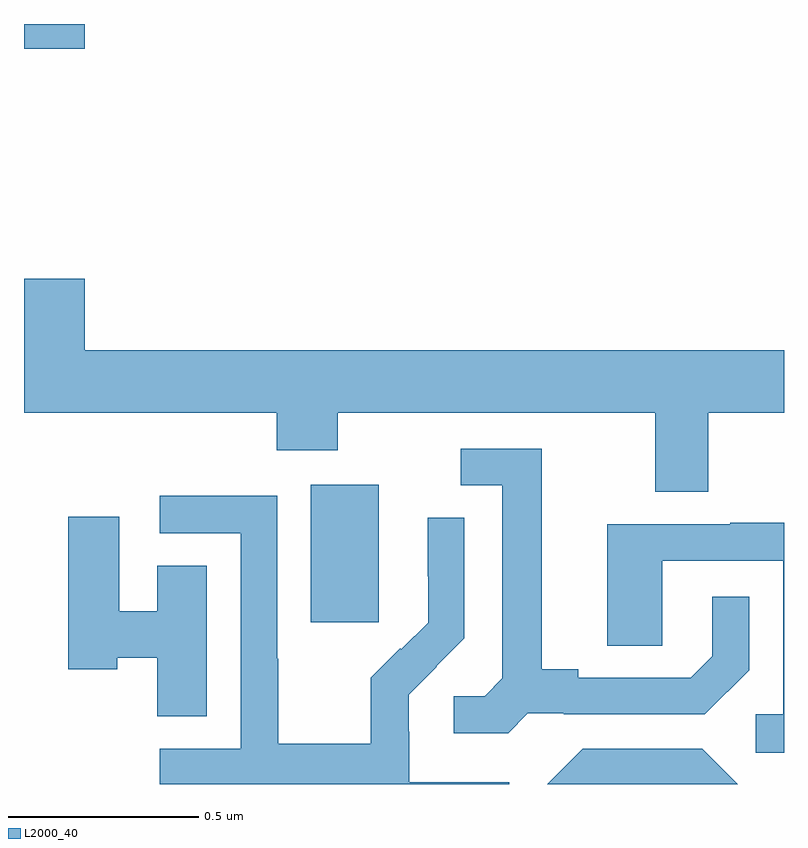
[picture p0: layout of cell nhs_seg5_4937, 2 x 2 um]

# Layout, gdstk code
import gdstk
lib = gdstk.Library(unit=1e-6, precision=1e-09)
def R(c, l, rs):  # rectangles x0, y0, x1, y1
    for r in rs: c.add(gdstk.rectangle(r[:2], r[2:], *l))
def P(c, l, *ps):  # polygons
    for p in ps: c.add(gdstk.Polygon(p, *l))
L2000_40 = (2000, 40)

nhs_seg5_4937 = lib.new_cell('nhs_seg5_4937')
R(nhs_seg5_4937, L2000_40, [(177.755,840.225,177.934,840.586), (177,841.734,177.16,841.799)])
P(nhs_seg5_4937, L2000_40, [(178.801,840.776),(179,840.776),(179,840.94),(177.16,840.94),(177.16,841.129),(177,841.129),(177,840.776),(177.665,840.776),(177.665,840.677),(177.825,840.677),(177.825,840.776),(178.661,840.776),(178.661,840.568),(178.801,840.568)],
  [(178.326,839.985),(178.42,839.985),(178.42,839.982),(178.792,839.982),(178.908,840.098),(178.908,840.292),(178.811,840.292),(178.811,840.135),(178.754,840.078),(178.459,840.078),(178.459,840.101),(178.363,840.101),(178.363,840.681),(178.149,840.681),(178.149,840.585),(178.259,840.585),(178.259,840.077),(178.212,840.03),(178.131,840.03),(178.131,839.933),(178.274,839.933)],
  [(178.785,839.892),(178.47,839.892),(178.377,839.799),(178.878,839.799)],
  [(177.481,840.374),(177.35,840.374),(177.35,840.253),(177.25,840.253),(177.25,840.502),(177.116,840.502),(177.116,840.101),(177.246,840.101),(177.246,840.131),(177.35,840.131),(177.35,839.977),(177.481,839.977)],
  [(179,840.487),(178.859,840.487),(178.859,840.483),(178.535,840.483),(178.535,840.163),(178.68,840.163),(178.68,840.387),(178.998,840.387),(178.998,839.982),(178.926,839.982),(178.926,839.881),(179,839.881)],
  [(178.014,839.803),(178.014,839.937),(178.012,839.937),(178.012,840.034),(178.086,840.108),(178.085,840.109),(178.158,840.182),(178.158,840.5),(178.062,840.5),(178.062,840.346),(178.064,840.346),(178.064,840.224),(177.993,840.153),(177.99,840.156),(177.913,840.079),(177.913,839.905),(177.669,839.905),(177.669,840.128),(177.666,840.128),(177.666,840.558),(177.357,840.558),(177.357,840.459),(177.57,840.459),(177.57,839.892),(177.357,839.892),(177.357,839.799),(178.277,839.799),(178.277,839.803)])

lib.write_gds('nhs_seg5_4937.gds')
